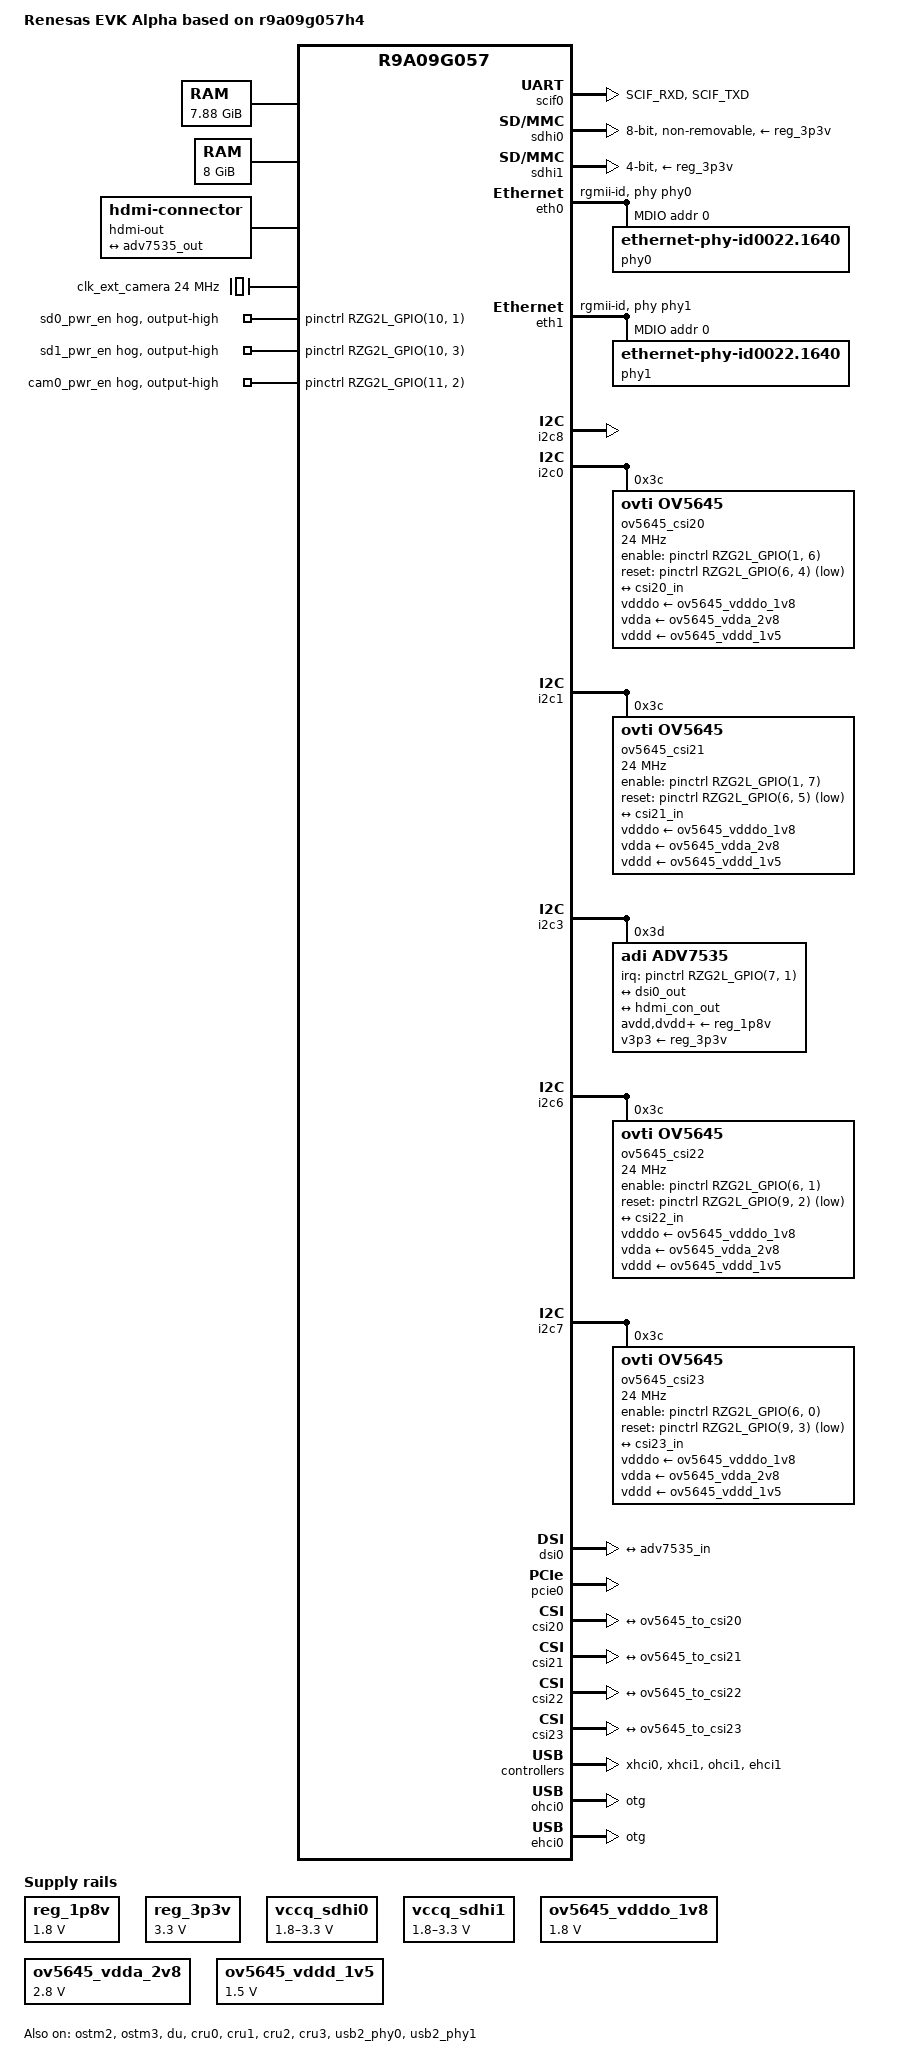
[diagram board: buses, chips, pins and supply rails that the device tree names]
// SPDX-License-Identifier: (GPL-2.0-only OR BSD-2-Clause)
/*
 * Device Tree Source for the RZ/V2H EVK Alpha board
 *
 * Copyright (C) 2022 Renesas Electronics Corp.
 */

/dts-v1/;
#include "r9a09g057.dtsi"
#include <dt-bindings/pinctrl/rzg2l-pinctrl.h>
#include <dt-bindings/gpio/gpio.h>

/*
 * Jumper setting
 *
 * Please change the jumper setting corresponding to below Macros:
 *
 * SW2 (SEL_SD0): 1: eMMC (default);	0: SD
 *
 * DSW7:
 *	DSW7_QSD0_CD (Pin 1-4):
 *		1: QSD0_CD (default);	0: PA_5 (GPIO/Other purposes)
 *	DSW7_QSD1_CD (Pin 2-3):
 *		1: QSD1_CD (default);	0: P9_4 (GPIO/Other purposes)
 */
#define SEL_SD0		1
#define DSW7_QSD0_CD	1
#define DSW7_QSD1_CD	1

/ {
	model = "Renesas EVK Alpha based on r9a09g057h4";
	compatible = "renesas,r9a09g057h4-evk", "renesas,r9a09g057h4", "renesas,r9a09g057";

	aliases {
		serial0 = &scif0;
		mmc0 = &sdhi0;
		mmc1 = &sdhi1;
		mmc2 = &sdhi2;
		ethernet0 = &eth0;
		ethernet1 = &eth1;
	};

	chosen {
		bootargs = "ignore_loglevel";
		stdout-path = "serial0:115200n8";
	};

	memory@48000000 {
		device_type = "memory";
		/* first 128MB is reserved for secure area. */
		reg = <0x0 0x48000000 0x1 0xF8000000>;
	};

	memory@240000000 {
		device_type = "memory";
		reg = <0x2 0x40000000 0x2 0x00000000>;
	};

	reserved-memory {
		#address-cells = <2>;
		#size-cells = <2>;
		ranges;

		global_cma: linux,cma@58000000 {
			compatible = "shared-dma-pool";
			linux,cma-default;
			reusable;
			reg = <0x0 0x58000000 0x0 0x10000000>;
		};

                mmp_reserved: linux,multimedia {
                        compatible = "shared-dma-pool";
                        reusable;
                        reg = <0x00000000 0x68000000 0x0 0x8000000>;
                };

		drp_reserved: DRP-AI@80000000 {
			reusable;
			reg = <0x0 0x80000000 0x0 0x20000000>;
		};

		image_buf0: image_buf@B0000000 {
			compatible = "shared-dma-pool";
			reusable;
			reg = <0x0 0xB0000000 0x0 0x4000000>;
			label = "image_buf0";
		};
	};

        mmngr {
                compatible = "renesas,mmngr";
                memory-region = <&mmp_reserved>;
        };

        mmngrbuf {
                compatible = "renesas,mmngrbuf";
        };

        vspm_if {
                compatible = "renesas,vspm_if";
        };

	reg_1p8v: regulator0 {
		compatible = "regulator-fixed";

		regulator-name = "fixed-1.8V";
		regulator-min-microvolt = <1800000>;
		regulator-max-microvolt = <1800000>;
		regulator-boot-on;
		regulator-always-on;
	};

	reg_3p3v: regulator1 {
		compatible = "regulator-fixed";

		regulator-name = "fixed-3.3V";
		regulator-min-microvolt = <3300000>;
		regulator-max-microvolt = <3300000>;
		regulator-boot-on;
		regulator-always-on;
	};

	vccq_sdhi0: regulator-vccq-sdhi0 {
		compatible = "regulator-gpio";

		regulator-name = "SDHI0 VccQ";
		regulator-min-microvolt = <1800000>;
		regulator-max-microvolt = <3300000>;

		gpios = <&pinctrl RZG2L_GPIO(10, 0) GPIO_ACTIVE_HIGH>;

		gpios-states = <1>;
		states = <3300000 0 1800000 1>;
	};

	vccq_sdhi1: regulator-vccq-sdhi1 {
		compatible = "regulator-gpio";

		regulator-name = "SDHI1 VccQ";
		regulator-min-microvolt = <1800000>;
		regulator-max-microvolt = <3300000>;

		gpios = <&pinctrl RZG2L_GPIO(10, 2) GPIO_ACTIVE_HIGH>;

		gpios-states = <1>;
		states = <3300000 0 1800000 1>;
	};

	hdmi-out {
		compatible = "hdmi-connector";
		type = "d";

		port {
			hdmi_con_out: endpoint {
				remote-endpoint = <&adv7535_out>;
			};
		};
	};

	clk_ext_camera: clk_ext_camera {
		compatible = "fixed-clock";
		#clock-cells = <0>;
		clock-frequency = <24000000>;
	};

	ov5645_vdddo_1v8: 1p8v {
		compatible = "regulator-fixed";
		regulator-name = "camera_vdddo";
		regulator-min-microvolt = <1800000>;
		regulator-max-microvolt = <1800000>;
		regulator-always-on;
	};

	ov5645_vdda_2v8: 2p8v {
		compatible = "regulator-fixed";
		regulator-name = "camera_vdda";
		regulator-min-microvolt = <2800000>;
		regulator-max-microvolt = <2800000>;
		regulator-always-on;
	};

	ov5645_vddd_1v5: 1p5v {
		compatible = "regulator-fixed";
		regulator-name = "camera_vddd";
		regulator-min-microvolt = <1500000>;
		regulator-max-microvolt = <1500000>;
		regulator-always-on;
	};
};

&pinctrl {
	scif0_pins: scif0 {
		pins =  "SCIF_RXD", "SCIF_TXD";
	};

	sd0_pwr_en {
		gpio-hog;
		gpios = <RZG2L_GPIO(10, 1) GPIO_ACTIVE_HIGH>;
		output-high;
		line-name = "sd0_pwr_en";
	};

	sd1_pwr_en {
		gpio-hog;
		gpios = <RZG2L_GPIO(10, 3) GPIO_ACTIVE_HIGH>;
		output-high;
		line-name = "sd1_pwr_en";
	};

	/* cam0_pwr_en is used by Google Coral Camera from CSI20 and CSI21 */
	cam0_pwr_en {
		gpio-hog;
		gpios = <RZG2L_GPIO(11, 2) GPIO_ACTIVE_HIGH>;
		output-high;
		line-name = "cam0_pwr_en";
	};

#if ((!SEL_SD0) && (DSW7_QSD0_CD))
	/* Support pinctrl for SD function of SDHI0 */
	sdhi0_pins: sd0 {
		sd0_mux {
			pinmux = <RZG2L_PORT_PINMUX(10, 5, 15)>; /* SD0_CD */
		};
	};
#endif

#if (DSW7_QSD1_CD)
/* Support pinctrl for SD function of SDHI0 */
	sdhi1_pins: sd1 {
		sd0_mux {
			pinmux = <RZG2L_PORT_PINMUX(9, 4, 14)>; /* SD1_CD */
		};
	};
#endif

	i2c0_pins: i2c0 {
		pinmux = <RZG2L_PORT_PINMUX(3, 0, 1)>, /* I2C0_SDA */
			 <RZG2L_PORT_PINMUX(3, 1, 1)>; /* I2C0_SCL */
	};

	i2c1_pins: i2c1 {
		pinmux = <RZG2L_PORT_PINMUX(3, 2, 1)>, /* I2C1_SDA */
			 <RZG2L_PORT_PINMUX(3, 3, 1)>; /* I2C1_SCL */
	};

	i2c3_pins: i2c3 {
		pinmux = <RZG2L_PORT_PINMUX(3, 6, 1)>, /* I2C3_SDA */
			 <RZG2L_PORT_PINMUX(3, 7, 1)>; /* I2C3_SCL */
	};

	i2c6_pins: i2c6 {
		pinmux = <RZG2L_PORT_PINMUX(4, 4, 1)>, /* I2C6_SDA */
			 <RZG2L_PORT_PINMUX(4, 5, 1)>; /* I2C6_SCL */
	};

	i2c7_pins: i2c7 {
		pinmux = <RZG2L_PORT_PINMUX(4, 6, 1)>, /* I2C7_SDA */
			 <RZG2L_PORT_PINMUX(4, 7, 1)>; /* I2C7_SCL */
	};

	i2c8_pins: i2c8 {
		pinmux = <RZG2L_PORT_PINMUX(0, 6, 1)>, /* I2C8_SDA */
			 <RZG2L_PORT_PINMUX(0, 7, 1)>; /* I2C8_SCL */
	};

	usb30_pins: usb30 {
		pinmux = <RZG2L_PORT_PINMUX(11, 0, 14)>; /* VBUS */
	};

	usb31_pins: usb31 {
		pinmux = <RZG2L_PORT_PINMUX(6, 2, 14)>; /* VBUS */
	};

	usb20_pins: usb20 {
		pinmux = <RZG2L_PORT_PINMUX(9, 5, 14)>, /* VBUS */
			 <RZG2L_PORT_PINMUX(9, 6, 14)>; /* OVC */
	};

	usb21_pins: usb21 {
		pinmux = <RZG2L_PORT_PINMUX(6, 6, 14)>, /* VBUS */
			 <RZG2L_PORT_PINMUX(6, 7, 14)>; /* OVC */
	};
};

&extal_clk {
	clock-frequency = <24000000>;
};

&ostm2 {
	status = "okay";
};

&ostm3 {
	status = "okay";
};

&scif0 {
	pinctrl-0 = <&scif0_pins>;
	pinctrl-names = "default";

	status = "okay";
};

#if (SEL_SD0)
&sdhi0 {
	vmmc-supply = <&reg_3p3v>;
	vqmmc-supply = <&reg_1p8v>;
	bus-width = <8>;
	mmc-hs200-1_8v;
	non-removable;
	fixed-emmc-driver-type = <1>;
	status = "okay";
};
#else
&sdhi0 {
#if (DSW7_QSD0_CD)
	pinctrl-0 = <&sdhi0_pins>;
	pinctrl-names = "default";
#else
	non-removable;
#endif
	vmmc-supply = <&reg_3p3v>;
	vqmmc-supply = <&vccq_sdhi0>;

	bus-width = <4>;
	status = "okay";
};
#endif

&sdhi1 {
#if (DSW7_QSD1_CD)
	pinctrl-0 = <&sdhi1_pins>;
	pinctrl-names = "default";
#else
	non-removable;
#endif
	vmmc-supply = <&reg_3p3v>;
	vqmmc-supply = <&vccq_sdhi1>;
	bus-width = <4>;
	status = "okay";
};

&eth0 {
	phy-handle = <&phy0>;
	phy-mode = "rgmii-id";
	status = "okay";

	mdio {
		#address-cells = <1>;
		#size-cells = <0>;
		phy0: ethernet-phy@0 {
			compatible = "ethernet-phy-id0022.1640",
				     "ethernet-phy-ieee802.3-c22";
			reg = <0>;
			rxc-skew-psec = <1400>;
			txc-skew-psec = <1400>;
			rxdv-skew-psec = <0>;
			txdv-skew-psec = <0>;
			rxd0-skew-psec = <0>;
			rxd1-skew-psec = <0>;
			rxd2-skew-psec = <0>;
			rxd3-skew-psec = <0>;
			txd0-skew-psec = <0>;
			txd1-skew-psec = <0>;
			txd2-skew-psec = <0>;
			txd3-skew-psec = <0>;
		};
	};
};

&eth1 {
	phy-handle = <&phy1>;
	phy-mode = "rgmii-id";
	status = "okay";

	mdio {
		#address-cells = <1>;
		#size-cells = <0>;
		phy1: ethernet-phy@0 {
			compatible = "ethernet-phy-id0022.1640",
				     "ethernet-phy-ieee802.3-c22";
			reg = <0>;
			rxc-skew-psec = <1400>;
			txc-skew-psec = <1400>;
			rxdv-skew-psec = <0>;
			txdv-skew-psec = <0>;
			rxd0-skew-psec = <0>;
			rxd1-skew-psec = <0>;
			rxd2-skew-psec = <0>;
			rxd3-skew-psec = <0>;
			txd0-skew-psec = <0>;
			txd1-skew-psec = <0>;
			txd2-skew-psec = <0>;
			txd3-skew-psec = <0>;
		};
	};
};

&i2c8 {
	pinctrl-0 = <&i2c8_pins>;
	pinctrl-names = "default";

	status = "okay";
};

&i2c0 {
	pinctrl-0 = <&i2c0_pins>;
	pinctrl-names = "default";

	status = "okay";

	ov5645_csi20: ov5645_csi20@3c {
		compatible = "ovti,ov5645";
		reg = <0x3c>;
		clock-names = "xclk";
		clocks = <&clk_ext_camera>;
		clock-frequency = <24000000>;
		vdddo-supply = <&ov5645_vdddo_1v8>;
		vdda-supply = <&ov5645_vdda_2v8>;
		vddd-supply = <&ov5645_vddd_1v5>;
		/* Set dummy enable gpio */
		enable-gpios = <&pinctrl RZG2L_GPIO(1, 6) GPIO_ACTIVE_HIGH>;
		reset-gpios = <&pinctrl RZG2L_GPIO(6, 4) GPIO_ACTIVE_LOW>;

		port {
			ov5645_to_csi20: endpoint {
				clock-lanes = <0>;
				data-lanes = <1 2>;
				remote-endpoint = <&csi20_in>;
			};
		};
	};
};

&i2c1 {
	pinctrl-0 = <&i2c1_pins>;
	pinctrl-names = "default";

	status = "okay";

	ov5645_csi21: ov5645_csi21@3c {
		compatible = "ovti,ov5645";
		reg = <0x3c>;
		clock-names = "xclk";
		clocks = <&clk_ext_camera>;
		clock-frequency = <24000000>;
		vdddo-supply = <&ov5645_vdddo_1v8>;
		vdda-supply = <&ov5645_vdda_2v8>;
		vddd-supply = <&ov5645_vddd_1v5>;
		/* Set dummy enable gpio */
		enable-gpios = <&pinctrl RZG2L_GPIO(1, 7) GPIO_ACTIVE_HIGH>;
		reset-gpios = <&pinctrl RZG2L_GPIO(6, 5) GPIO_ACTIVE_LOW>;

		port {
			ov5645_to_csi21: endpoint {
				clock-lanes = <0>;
				data-lanes = <1 2>;
				remote-endpoint = <&csi21_in>;
			};
		};
	};
};

&i2c3 {
	pinctrl-0 = <&i2c3_pins>;
	pinctrl-names = "default";

	status = "okay";

	adv7535: hdmi@3d {
		compatible = "adi,adv7535";
		reg = <0x3d>;

		avdd-supply = <&reg_1p8v>;
		dvdd-supply = <&reg_1p8v>;
		pvdd-supply = <&reg_1p8v>;
		a2vdd-supply = <&reg_1p8v>;
		v3p3-supply = <&reg_3p3v>;
		v1p2-supply = <&reg_1p8v>;

		interrupt-parent = <&pinctrl>;
		interrupts = <RZG2L_GPIO(7, 1) IRQ_TYPE_LEVEL_LOW>;

		adi,dsi-lanes = <4>;

		ports {
			#address-cells = <1>;
			#size-cells = <0>;

			port@0 {
				reg = <0>;
				adv7535_in: endpoint@0 {
					remote-endpoint = <&dsi0_out>;
				};
			};
			
			port@1 {
				reg = <1>;
				adv7535_out: endpoint@1 {
				remote-endpoint = <&hdmi_con_out>;
				};
			};
		};
	};
};

&i2c6 {
	pinctrl-0 = <&i2c6_pins>;
	pinctrl-names = "default";

	status = "okay";

	ov5645_csi22: ov5645_csi22@3c {
		compatible = "ovti,ov5645";
		reg = <0x3c>;
		clock-names = "xclk";
		clocks = <&clk_ext_camera>;
		clock-frequency = <24000000>;
		vdddo-supply = <&ov5645_vdddo_1v8>;
		vdda-supply = <&ov5645_vdda_2v8>;
		vddd-supply = <&ov5645_vddd_1v5>;
		enable-gpios = <&pinctrl RZG2L_GPIO(6, 1) GPIO_ACTIVE_HIGH>;
		reset-gpios = <&pinctrl RZG2L_GPIO(9, 2) GPIO_ACTIVE_LOW>;

		port {
			ov5645_to_csi22: endpoint {
				clock-lanes = <0>;
				data-lanes = <1 2>;
				remote-endpoint = <&csi22_in>;
			};
		};
	};
};

&i2c7 {
	pinctrl-0 = <&i2c7_pins>;
	pinctrl-names = "default";

	status = "okay";

	ov5645_csi23: ov5645_csi23@3c {
		compatible = "ovti,ov5645";
		reg = <0x3c>;
		clock-names = "xclk";
		clocks = <&clk_ext_camera>;
		clock-frequency = <24000000>;
		vdddo-supply = <&ov5645_vdddo_1v8>;
		vdda-supply = <&ov5645_vdda_2v8>;
		vddd-supply = <&ov5645_vddd_1v5>;
		enable-gpios = <&pinctrl RZG2L_GPIO(6, 0) GPIO_ACTIVE_HIGH>;
		reset-gpios = <&pinctrl RZG2L_GPIO(9, 3) GPIO_ACTIVE_LOW>;

		port {
			ov5645_to_csi23: endpoint {
				clock-lanes = <0>;
				data-lanes = <1 2>;
				remote-endpoint = <&csi23_in>;
			};
		};
	};
};

&du {
	status = "okay";
};

&dsi0 {
	status = "okay";

	ports {
		port@1 {
			dsi0_out: endpoint {
				remote-endpoint = <&adv7535_in>;
				data-lanes = <1 2 3 4>;
			};
		};
	};
};

&pcie0 {
	/* Map all possible DDR as inbound ranges */
	dma-ranges = <0x42000000 0 0x40000000 0 0x40000000 0x4 0x00000000>;

	status = "okay";
};

&cru0 {
	status = "okay";
};

&csi20 {
	status = "okay";

	ports {
		port {
			csi20_in: endpoint {
				clock-lanes = <0>;
				data-lanes = <1 2>;
				remote-endpoint = <&ov5645_to_csi20>;
			};
		};
	};
};

&cru1 {
	status = "okay";
};

&csi21 {
	status = "okay";

	ports {
		port {
			csi21_in: endpoint {
				clock-lanes = <0>;
				data-lanes = <1 2>;
				remote-endpoint = <&ov5645_to_csi21>;
			};
		};
	};
};

&cru2 {
	status = "okay";
};

&csi22 {
	status = "okay";

	ports {
		port {
			csi22_in: endpoint {
				clock-lanes = <0>;
				data-lanes = <1 2>;
				remote-endpoint = <&ov5645_to_csi22>;
			};
		};
	};
};

&cru3 {
	status = "okay";
};

&csi23 {
	status = "okay";

	ports {
		port {
			csi23_in: endpoint {
				clock-lanes = <0>;
				data-lanes = <1 2>;
				remote-endpoint = <&ov5645_to_csi23>;
			};
		};
	};
};

&xhci0 {
		pinctrl-0 = <&usb30_pins>;
		pinctrl-names = "default";

		memory-region = <&global_cma>;
		status = "okay";
};

&xhci1 {
		pinctrl-0 = <&usb31_pins>;
		pinctrl-names = "default";

		memory-region = <&global_cma>;
		status = "okay";
};

&ohci0 {
		memory-region = <&global_cma>;

		dr_mode = "otg";
		status = "okay";
};

&ohci1 {
		memory-region = <&global_cma>;

		status = "okay";
};

&ehci0 {
		memory-region = <&global_cma>;

		dr_mode = "otg";
		status = "okay";
};

&ehci1 {
		memory-region = <&global_cma>;

		status = "okay";
};

&usb2_phy0 {
		pinctrl-0 = <&usb20_pins>;
		pinctrl-names = "default";

		status = "okay";
};

&usb2_phy1 {
		pinctrl-0 = <&usb21_pins>;
		pinctrl-names = "default";

		status = "okay";
};
